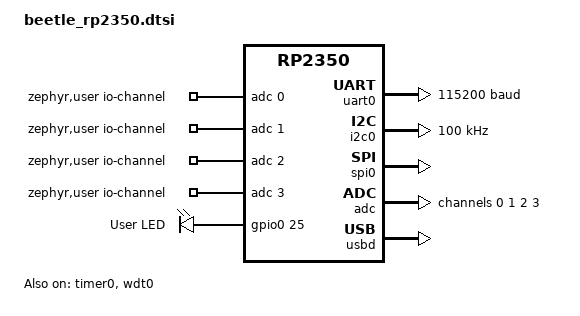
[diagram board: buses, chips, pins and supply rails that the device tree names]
/*
 * Copyright (c) 2025 Stephano Cetola
 * Copyright (c) 2026 Jonas Berg
 *
 * SPDX-License-Identifier: Apache-2.0
 */
#include <freq.h>

#include <zephyr/dt-bindings/i2c/i2c.h>
#include <zephyr/dt-bindings/input/input-event-codes.h>
#include <zephyr/dt-bindings/led/led.h>
#include <zephyr/dt-bindings/pinctrl/rpi-pico-rp2350a-pinctrl.h>
#include "beetle_rp2350-pinctrl.dtsi"

/ {
	chosen {
		zephyr,sram = &sram0;
		zephyr,flash = &flash0;
		zephyr,console = &uart0;
		zephyr,shell-uart = &uart0;
	};

	aliases {
		led0 = &red_led;
		watchdog0 = &wdt0;
	};

	zephyr,user {
		io-channels = <&adc 0>, <&adc 1>, <&adc 2>, <&adc 3>;
	};

	leds: leds {
		compatible = "gpio-leds";

		red_led: red_led {
			gpios = <&gpio0 25 GPIO_ACTIVE_HIGH>;
			label = "User LED";
		};
	};
};

&flash0 {
	reg = <0x10000000 DT_SIZE_M(2)>;
};

&gpio0 {
	status = "okay";
};

&uart0 {
	status = "okay";
	current-speed = <115200>;
	pinctrl-0 = <&uart0_default>;
	pinctrl-names = "default";
};

&i2c0 {
	status = "okay";
	pinctrl-0 = <&i2c0_default>;
	pinctrl-names = "default";
	clock-frequency = <I2C_BITRATE_STANDARD>;
};

&spi0 {
	pinctrl-0 = <&spi0_default>;
	pinctrl-names = "default";
	status = "okay";
};

&adc {
	status = "okay";
	pinctrl-0 = <&adc_default>;
	pinctrl-names = "default";
	#address-cells = <1>;
	#size-cells = <0>;

	channel@0 {
		reg = <0>;
		zephyr,gain = "ADC_GAIN_1";
		zephyr,reference = "ADC_REF_INTERNAL";
		zephyr,acquisition-time = <ADC_ACQ_TIME_DEFAULT>;
		zephyr,resolution = <12>;
	};

	channel@1 {
		reg = <1>;
		zephyr,gain = "ADC_GAIN_1";
		zephyr,reference = "ADC_REF_INTERNAL";
		zephyr,acquisition-time = <ADC_ACQ_TIME_DEFAULT>;
		zephyr,resolution = <12>;
	};

	channel@2 {
		reg = <2>;
		zephyr,gain = "ADC_GAIN_1";
		zephyr,reference = "ADC_REF_INTERNAL";
		zephyr,acquisition-time = <ADC_ACQ_TIME_DEFAULT>;
		zephyr,resolution = <12>;
	};

	channel@3 {
		reg = <3>;
		zephyr,gain = "ADC_GAIN_1";
		zephyr,reference = "ADC_REF_INTERNAL";
		zephyr,acquisition-time = <ADC_ACQ_TIME_DEFAULT>;
		zephyr,resolution = <12>;
	};
};

&timer0 {
	status = "okay";
};

&wdt0 {
	status = "okay";
};

zephyr_udc0: &usbd {
	status = "okay";
};
